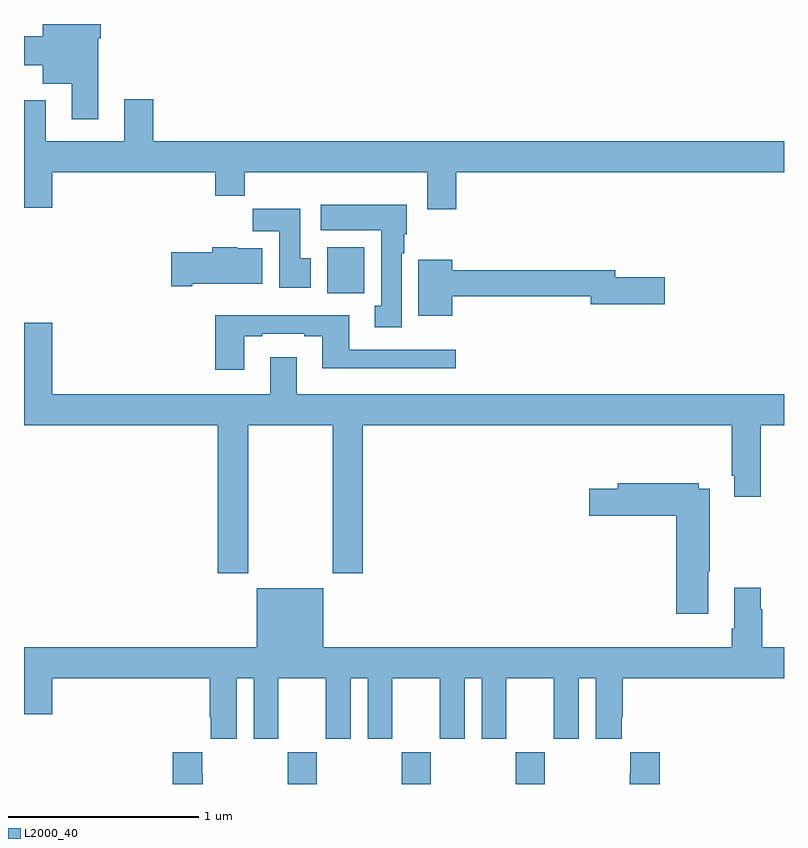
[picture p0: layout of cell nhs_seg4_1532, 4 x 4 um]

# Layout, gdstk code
import gdstk
lib = gdstk.Library(unit=1e-6, precision=1e-09)
def R(c, l, rs):  # rectangles x0, y0, x1, y1
    for r in rs: c.add(gdstk.rectangle(r[:2], r[2:], *l))
def A(c, l, x, y, w, h, nx, ny, dx, dy):  # array of equal rectangles
    R(c, l, [(x+i*dx, y+j*dy, x+i*dx+w, y+j*dy+h) for i in range(nx) for j in range(ny)])
def P(c, l, *ps):  # polygons
    for p in ps: c.add(gdstk.Polygon(p, *l))
L2000_40 = (2000, 40)

nhs_seg4_1532 = lib.new_cell('nhs_seg4_1532')
A(nhs_seg4_1532, L2000_40, 190.387, 826.9, 0.155, 0.168, 3, 1, 0.6, 0)
R(nhs_seg4_1532, L2000_40, [(190.595,829.484,190.792,829.726)])
P(nhs_seg4_1532, L2000_40, [(189.391,830.825),(189.404,830.825),(189.404,830.9),(189.098,830.9),(189.098,830.836),(189,830.836),(189,830.684),(189.098,830.684),(189.098,830.585),(189.251,830.585),(189.251,830.4),(189.391,830.4)],
  [(191.276,830.12),(193,830.12),(193,830.284),(189.68,830.284),(189.68,830.503),(189.527,830.503),(189.527,830.284),(189.115,830.284),(189.115,830.5),(189,830.5),(189,829.932),(189.148,829.932),(189.148,830.12),(190.007,830.12),(190.007,829.996),(190.163,829.996),(190.163,830.12),(191.123,830.12),(191.123,829.926),(191.276,829.926)],
  [(190.987,829.694),(191.002,829.694),(191.002,829.794),(191.014,829.794),(191.014,829.948),(190.563,829.948),(190.563,829.814),(190.88,829.814),(190.88,829.418),(190.847,829.418),(190.847,829.305),(190.987,829.305)],
  [(190.51,829.668),(190.453,829.668),(190.453,829.927),(190.204,829.927),(190.204,829.808),(190.343,829.808),(190.343,829.512),(190.51,829.512)],
  [(189.886,829.532),(190.255,829.532),(190.255,829.72),(190.122,829.72),(190.122,829.726),(189.992,829.726),(189.992,829.698),(189.774,829.698),(189.774,829.52),(189.886,829.52)],
  [(191.254,829.468),(191.984,829.468),(191.984,829.426),(192.373,829.426),(192.373,829.568),(192.112,829.568),(192.112,829.604),(191.254,829.604),(191.254,829.66),(191.075,829.66),(191.075,829.364),(191.254,829.364)],
  [(190.159,829.257),(190.255,829.257),(190.255,829.269),(190.475,829.269),(190.475,829.257),(190.571,829.257),(190.571,829.088),(191.272,829.088),(191.272,829.185),(190.711,829.185),(190.711,829.366),(190.007,829.366),(190.007,829.08),(190.159,829.08)],
  [(190.179,828.788),(190.624,828.788),(190.624,828.009),(190.784,828.009),(190.784,828.788),(192.725,828.788),(192.725,828.523),(192.737,828.523),(192.737,828.411),(192.877,828.411),(192.877,828.788),(193,828.788),(193,828.952),(190.435,828.952),(190.435,829.147),(190.295,829.147),(190.295,828.952),(189.148,828.952),(189.148,829.327),(189,829.327),(189,828.788),(190.019,828.788),(190.019,828.009),(190.179,828.009)],
  [(192.601,828.019),(192.609,828.019),(192.609,828.454),(192.552,828.454),(192.552,828.483),(192.125,828.483),(192.125,828.453),(191.976,828.453),(191.976,828.311),(192.434,828.311),(192.434,827.796),(192.601,827.796)],
  [(190.12,827.456),(190.208,827.456),(190.208,827.139),(190.339,827.139),(190.339,827.456),(190.589,827.456),(190.589,827.139),(190.72,827.139),(190.72,827.456),(190.808,827.456),(190.808,827.139),(190.939,827.139),(190.939,827.456),(191.189,827.456),(191.189,827.139),(191.32,827.139),(191.32,827.456),(191.408,827.456),(191.408,827.139),(191.539,827.139),(191.539,827.456),(191.789,827.456),(191.789,827.139),(191.92,827.139),(191.92,827.456),(192.008,827.456),(192.008,827.139),(192.145,827.139),(192.145,827.251),(192.152,827.251),(192.152,827.456),(193,827.456),(193,827.62),(192.885,827.62),(192.885,827.819),(192.877,827.819),(192.877,827.932),(192.737,827.932),(192.737,827.716),(192.725,827.716),(192.725,827.62),(190.576,827.62),(190.576,827.929),(190.226,827.929),(190.226,827.62),(189,827.62),(189,827.268),(189.148,827.268),(189.148,827.456),(189.977,827.456),(189.977,827.251),(189.983,827.251),(189.983,827.139),(190.12,827.139)],
  [(189.942,826.955),(189.937,826.955),(189.937,827.068),(189.782,827.068),(189.782,826.9),(189.942,826.9)],
  [(192.347,827.068),(192.191,827.068),(192.191,826.955),(192.187,826.955),(192.187,826.9),(192.347,826.9)])

lib.write_gds('nhs_seg4_1532.gds')
